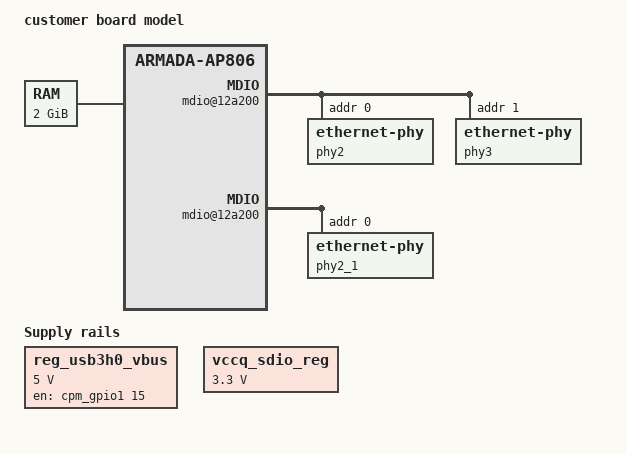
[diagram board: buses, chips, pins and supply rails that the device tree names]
/*
 * Copyright (C) 2016 Marvell Technology Group Ltd.
 *
 * This file is dual-licensed: you can use it either under the terms
 * of the GPLv2 or the X11 license, at your option. Note that this dual
 * licensing only applies to this file, and not this project as a
 * whole.
 *
 *  a) This library is free software; you can redistribute it and/or
 *     modify it under the terms of the GNU General Public License as
 *     published by the Free Software Foundation; either version 2 of the
 *     License, or (at your option) any later version.
 *
 *     This library is distributed in the hope that it will be useful,
 *     but WITHOUT ANY WARRANTY; without even the implied warranty of
 *     MERCHANTABILITY or FITNESS FOR A PARTICULAR PURPOSE.  See the
 *     GNU General Public License for more details.
 *
 * Or, alternatively,
 *
 *  b) Permission is hereby granted, free of charge, to any person
 *     obtaining a copy of this software and associated documentation
 *     files (the "Software"), to deal in the Software without
 *     restriction, including without limitation the rights to use,
 *     copy, modify, merge, publish, distribute, sublicense, and/or
 *     sell copies of the Software, and to permit persons to whom the
 *     Software is furnished to do so, subject to the following
 *     conditions:
 *
 *     The above copyright notice and this permission notice shall be
 *     included in all copies or substantial portions of the Software.
 *
 *     THE SOFTWARE IS PROVIDED "AS IS", WITHOUT WARRANTY OF ANY KIND,
 *     EXPRESS OR IMPLIED, INCLUDING BUT NOT LIMITED TO THE WARRANTIES
 *     OF MERCHANTABILITY, FITNESS FOR A PARTICULAR PURPOSE AND
 *     NONINFRINGEMENT. IN NO EVENT SHALL THE AUTHORS OR COPYRIGHT
 *     HOLDERS BE LIABLE FOR ANY CLAIM, DAMAGES OR OTHER LIABILITY,
 *     WHETHER IN AN ACTION OF CONTRACT, TORT OR OTHERWISE, ARISING
 *     FROM, OUT OF OR IN CONNECTION WITH THE SOFTWARE OR THE USE OR
 *     OTHER DEALINGS IN THE SOFTWARE.
 */

/*
 * Example device tree for Armada 8040
 * Customer may use this file as a reference.
 * Each field that needs to be update (phys, mpps, addresses, frequencies)
 * is marked with "UPDATE" comment.
 *
 * NOTE: all interfaces are disabled!
 *
 * Refer to ./Documentation/mvebu/porting_guide.txt for for information
 */

/* UPDATE
 * Include one of the following dtsi files:
 *	armada-8040.dtsi - used for quad core
 *	armada-8020.dtsi - used for dual core
 */
#include "armada-8040.dtsi"

/ {
	/* UPDATE */
	model = "customer board model";
	/* UPDATE
	 * marvell,armada-ap806-quad - used for quad core
	 * marvell,armada-ap806-dual - used for dual core
	 * NOTE: The compatile MUST match the included *.dtsi file
	 */
	compatible = "customer-board-compatible", "marvell,armada8040",
		     "marvell,armada-ap806-quad", "marvell,armada-ap806";
	#address-cells = <2>;
	#size-cells = <2>;

	/* UPDATE */
	memory@00000000 {
		device_type = "memory";
		reg = <0x0 0x0 0x0 0x80000000>;
	};

	ap806 {
		config-space {
			serial@512000 {
				status = "disabled";
			};
			spi0: spi@510600 {
				status = "disabled";
				/* UPDATE */
				spi-flash@0 {
					#address-cells = <0x1>;
					#size-cells = <0x1>;
					compatible = "jedec,spi-nor";
					reg = <0x0>;
					spi-max-frequency = <20000000>;
					partition@0 {
						label = "boot";
						reg = <0x0 0x200000>;
					};
					partition@200000 {
						label = "Filesystem";
						reg = <0x200000 0xd00000>;
					};
					partition@d00000 {
						label = "boot_2nd";
						reg = <0xf00000 0x100000>;
					};
				};
			};
			i2c@511000 {
				status = "disabled";
				/* UPDATE */
				clock-frequency = <100000>;
				pinctrl-names = "default";
				pinctrl-0 = <&ap_i2c0_pins>;
				eeprom@57 {
					/* UPDATE */
					compatible = "at24,24c64";
					reg = <0x57>;
					pagesize = <32>;
				};
				eeprom@50 {
					/* UPDATE */
					compatible = "at24,24c64";
					reg = <0x50>;
					pagesize = <32>;
				};
			};

		};
	};

	cpn-110-master {
		config-space {
			sata@540000 {
				status = "disabled";

				sata-port@0 {
					/* UPDATE */
					phys = <&comphy0 1 COMPHY_SATA0>;
					phy-names = "comphy";
					status = "disabled";
				};
				sata-port@1 {
					/* UPDATE */
					phys = <&comphy0 3 COMPHY_SATA1>;
					phy-names = "comphy";
					status = "disabled";
				};
			};
			usb3h0: usb3@500000 {
				status = "disabled";
			};
			usb3h1: usb3@510000 {
				status = "disabled";
			};
			sdhci@780000 {
				status = "disabled";
			};
			mdio@12a200 {
				#address-cells = <1>;
				#size-cells = <0>;
				/* UPDATE */
				phy2: ethernet-phy@2 {
					reg = <0>;
				};
				/* UPDATE */
				phy3: ethernet-phy@3 {
					reg = <1>;
				};
			};
			gop {
				emac0: mac0 {
					/* UPDATE */
					phy-mode = "sfi"; /* lane-2 */
					/* UPDATE */
					phys = <&comphy0 2 COMPHY_SFI>;
					phy-names = "comphy";
				};
				emac2: mac2 {
					/* UPDATE */
					phy-mode = "rgmii"; /* rgmii-0 */
					phy = <&phy2>;
				};
				emac3: mac3 {
					/* UPDATE */
					phy-mode = "rgmii"; /* rgmii-1 */
					phy = <&phy3>;
				};
			};
			ppv22@000000 {
				/* UPDATE */
				pinctrl-names = "default";
				pinctrl-0 = <&cpm_ge2_rgmii_pins>; /* RGMII mpps */

				eth0: eth0@010000 {
					status = "disabled";
				};
				eth1: eth1@020000 {
					status = "disabled";
				};
				eth2: eth2@030000 {
					status = "disabled";
				};
			};
			comphy {
				status = "disabled";
			};
			pinctrl@440000 {
				/* UPDATE */
				xhci0_vbus_pins: xhci0-vbus-pins {
					marvell,pins = "mpp47";
					marvell,function = "gpio";
				};
			};
		};

		pcie@0x640000 {
			status = "disabled";
		};
		reg_usb3h0_vbus: usb3-vbus0 {
			compatible = "regulator-fixed";
			pinctrl-names = "default";
			pinctrl-0 = <&xhci0_vbus_pins>;
			regulator-name = "reg-usb3h0-vbus";
			regulator-min-microvolt = <5000000>;
			regulator-max-microvolt = <5000000>;
			enable-active-high;
			gpio = <&cpm_gpio1 15 GPIO_ACTIVE_HIGH>;
			status = "okay";
		};
		vccq_sdio_reg: regulator@1 {
			compatible = "regulator-fixed";
			regulator-name = "vccq-sdio-reg";
			regulator-min-microvolt = <3300000>;
			regulator-max-microvolt = <3300000>;
			regulator-always-on;
			status = "okay";
		};

	};
	cpn-110-slave {
		config-space {
			usb3h0_1: usb3@500000 {
				status = "disabled";
			};
			sata@540000 {
				status = "disabled";

				sata-port@0 {
					/* UPDATE */
					phys = <&comphy1 1 COMPHY_SATA0>;
					phy-names = "comphy";
					status = "disabled";
				};
				sata-port@1 {
					/* UPDATE */
					phys = <&comphy1 3 COMPHY_SATA1>;
					phy-names = "comphy";
					status = "disabled";
				};
			};
			mdio@12a200 {
				/* UPDATE */
				#address-cells = <1>;
				#size-cells = <0>;
				phy2_1: ethernet-phy@2 {
					reg = <0>;
				};
			};
			gop {
				emac0_1: mac0 {
					/* UPDATE */
					phy-mode = "sfi"; /* lane-2 */
					phys = <&comphy1 2 COMPHY_SFI>;
					phy-names = "disabled";
				};
				emac2_1: mac2 {
					/* UPDATE */
					phy-mode = "rgmii"; /* rgmii-0 */
					phy = <&phy2_1>;
				};
				emac3_1: mac3 {
					/* UPDATE */
					phy-mode = "sgmii"; /* lane-4 */
				};
			};
			ppv22@000000 {
				/* UPDATE */
				pinctrl-names = "default";
				pinctrl-0 = <&cps_ge1_rgmii_pins>;

				eth0_1: eth0@010000 {
					status = "disabled";
				};
				eth1_1: eth1@020000 {
					status = "disabled";
				};
				eth2_1: eth2@030000 {
					status = "disabled";
				};
			};
			comphy {
				status = "disabled";
			};
			nand@720000 {
				status = "disabled";
			};
			tdm@7a0000 {
				/* UPDATE */
				pinctrl-0 = <&cps_tdm_pins>;
				pinctrl-names = "default";
				pclk-freq-mhz = <8>;
				status = "disabled";
			};
		};
		pcie@0x640000 {
			status = "disabled";
		};
	};
};

